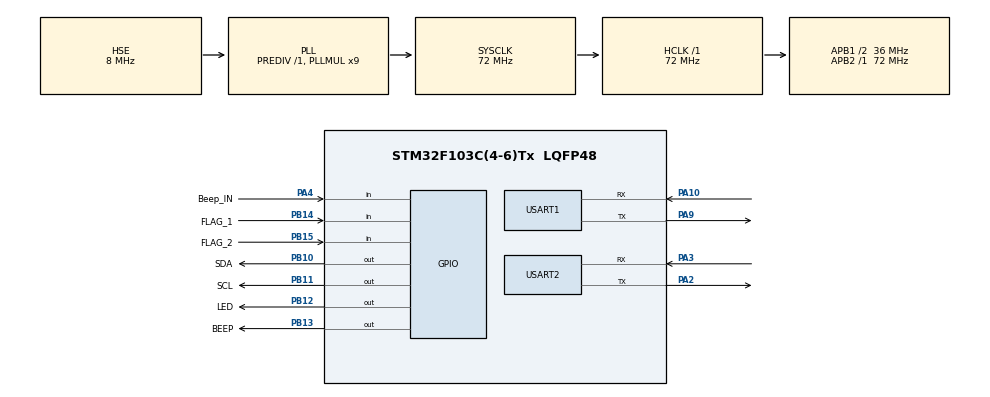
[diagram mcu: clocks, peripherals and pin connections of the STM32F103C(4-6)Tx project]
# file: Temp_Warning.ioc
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Mcu.Family=STM32F1
Mcu.Name=STM32F103C(4-6)Tx
Mcu.Package=LQFP48
NVIC.PriorityGroup=NVIC_PRIORITYGROUP_2
NVIC.USART1_IRQn=true\:1\:1\:true\:false\:true\:true\:true
PA10.Mode=Asynchronous
PA10.Signal=USART1_RX
PA13.Mode=Serial_Wire
PA13.Signal=SYS_JTMS-SWDIO
PA14.Mode=Serial_Wire
PA14.Signal=SYS_JTCK-SWCLK
PA2.Mode=Asynchronous
PA2.Signal=USART2_TX
PA3.Mode=Asynchronous
PA3.Signal=USART2_RX
PA4.GPIO_Label=Beep_IN
PA4.GPIO_Mode=GPIO_MODE_INPUT
PA4.GPIO_PuPd=GPIO_PULLUP
PA4.Signal=GPIO_Input
PA9.Mode=Asynchronous
PA9.Signal=USART1_TX
PB10.GPIO_Label=SDA
PB10.GPIO_ModeDefaultOutputPP=GPIO_MODE_OUTPUT_PP
PB10.GPIO_PuPd=GPIO_PULLUP
PB10.GPIO_Speed=GPIO_SPEED_FREQ_HIGH
PB10.PinState=GPIO_PIN_SET
PB10.Signal=GPIO_Output
PB11.GPIO_Label=SCL
PB11.GPIO_ModeDefaultOutputPP=GPIO_MODE_OUTPUT_PP
PB11.GPIO_PuPd=GPIO_PULLUP
PB11.GPIO_Speed=GPIO_SPEED_FREQ_HIGH
PB11.PinState=GPIO_PIN_SET
PB11.Signal=GPIO_Output
PB12.GPIO_Label=LED
PB12.GPIO_ModeDefaultOutputPP=GPIO_MODE_OUTPUT_PP
PB12.GPIO_PuPd=GPIO_PULLDOWN
PB12.GPIO_Speed=GPIO_SPEED_FREQ_MEDIUM
PB12.PinState=GPIO_PIN_SET
PB12.Signal=GPIO_Output
PB13.GPIO_Label=BEEP
PB13.GPIO_ModeDefaultOutputPP=GPIO_MODE_OUTPUT_PP
PB13.GPIO_PuPd=GPIO_PULLUP
PB13.GPIO_Speed=GPIO_SPEED_FREQ_MEDIUM
PB13.PinState=GPIO_PIN_SET
PB13.Signal=GPIO_Output
PB14.GPIO_Label=FLAG_1
PB14.GPIO_PuPd=GPIO_PULLUP
PB14.Signal=GPIO_Input
PB15.GPIO_Label=FLAG_2
PB15.GPIO_PuPd=GPIO_PULLUP
PB15.Signal=GPIO_Input
PC14-OSC32_IN.Mode=LSE-External-Oscillator
PC14-OSC32_IN.Signal=RCC_OSC32_IN
PC15-OSC32_OUT.Mode=LSE-External-Oscillator
PC15-OSC32_OUT.Signal=RCC_OSC32_OUT
PD0-OSC_IN.Mode=HSE-External-Oscillator
PD0-OSC_IN.Signal=RCC_OSC_IN
PD1-OSC_OUT.Mode=HSE-External-Oscillator
PD1-OSC_OUT.Signal=RCC_OSC_OUT
ProjectManager.HeapSize=0x200
ProjectManager.StackSize=0x400
ProjectManager.TargetToolchain=MDK-ARM V5.32
RCC.AHBFreq_Value=72000000
RCC.APB1CLKDivider=RCC_HCLK_DIV2
RCC.APB1Freq_Value=36000000
RCC.APB1TimFreq_Value=72000000
RCC.APB2Freq_Value=72000000
RCC.APB2TimFreq_Value=72000000
RCC.HCLKFreq_Value=72000000
RCC.PLLMUL=RCC_PLL_MUL9
RCC.PLLSourceVirtual=RCC_PLLSOURCE_HSE
RCC.SYSCLKFreq_VALUE=72000000
RCC.SYSCLKSource=RCC_SYSCLKSOURCE_PLLCLK
RCC.USBFreq_Value=72000000
TIM2.Prescaler=71
USART1.VirtualMode=VM_ASYNC
USART2.VirtualMode=VM_ASYNC
VP_TIM2_VS_ClockSourceINT.Mode=Internal
board=custom

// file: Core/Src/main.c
/* USER CODE BEGIN Header */
/**
  ******************************************************************************
  * @file           : main.c
  * @brief          : Main program body
  ******************************************************************************
  * @attention
  *
  * <h2><center>&copy; Copyright (c) 2022 STMicroelectronics.
  * All rights reserved.</center></h2>
  *
  * This software component is licensed by ST under BSD 3-Clause license,
  * the "License"; You may not use this file except in compliance with the
  * License. You may obtain a copy of the License at:
  *                        opensource.org/licenses/BSD-3-Clause
  *
  ******************************************************************************
  */
/* USER CODE END Header */
#include "main.h"
#include "tim.h"
#include "usart.h"
#include "gpio.h"

/* USER CODE BEGIN Includes */
#include "myiic.h"
#include "stdio.h"
/* USER CODE END Includes */

/* USER CODE BEGIN PD */
#define ERROR_TEMP 37.30
/* USER CODE END PD */

void SystemClock_Config(void);

/* USER CODE BEGIN 0 */

#ifdef __GNUC__
#define PUTCHAR_PROTOTYPE int __io_putchar(int ch)
#else
#define PUTCHAR_PROTOTYPE int fputc(int ch, FILE *f)
#endif
PUTCHAR_PROTOTYPE
{
    // HAL库函数版本
    // HAL_UART_Transmit(&huart1, (uint8_t *)&ch, 1 , 0xffff);
    // return ch;

    // 寄存器版本
    while ((USART1->SR & 0X40) == 0);
    USART1->DR = (uint8_t) ch;
    return ch;
}

/* USER CODE END 0 */

int main(void)
{
  /* USER CODE BEGIN 1 */
	float temp;
  /* USER CODE END 1 */

  /* MCU Configuration--------------------------------------------------------*/

  /* Reset of all peripherals, Initializes the Flash interface and the Systick. */
  HAL_Init();

  /* Configure the system clock */
  SystemClock_Config();

  /* Initialize all configured peripherals */
  MX_GPIO_Init();
  MX_USART1_UART_Init();
  MX_USART2_UART_Init();
  MX_TIM2_Init();

  /* Infinite loop */
  while (1)
  {

    /* USER CODE BEGIN 3 */
		HAL_Delay(500);
		temp=Get_Tem_DATA(0x07);
		printf("%.2f\r\n",temp);

		if( (temp>ERROR_TEMP) | (!HAL_GPIO_ReadPin(Beep_IN_GPIO_Port,Beep_IN_Pin)))
		{
			HAL_GPIO_WritePin(BEEP_GPIO_Port,BEEP_Pin,GPIO_PIN_RESET);
		}
		else
		{
			HAL_GPIO_WritePin(BEEP_GPIO_Port,BEEP_Pin,GPIO_PIN_SET);
		}

		HAL_GPIO_TogglePin(LED_GPIO_Port,LED_Pin);
  }
  /* USER CODE END 3 */
}

void SystemClock_Config(void)
{
  RCC_OscInitTypeDef RCC_OscInitStruct = {0};
  RCC_ClkInitTypeDef RCC_ClkInitStruct = {0};

  /** Initializes the RCC Oscillators according to the specified parameters
  * in the RCC_OscInitTypeDef structure.
  */
  RCC_OscInitStruct.OscillatorType = RCC_OSCILLATORTYPE_HSE;
  RCC_OscInitStruct.HSEState = RCC_HSE_ON;
  RCC_OscInitStruct.HSEPredivValue = RCC_HSE_PREDIV_DIV1;
  RCC_OscInitStruct.HSIState = RCC_HSI_ON;
  RCC_OscInitStruct.PLL.PLLState = RCC_PLL_ON;
  RCC_OscInitStruct.PLL.PLLSource = RCC_PLLSOURCE_HSE;
  RCC_OscInitStruct.PLL.PLLMUL = RCC_PLL_MUL9;
  if (HAL_RCC_OscConfig(&RCC_OscInitStruct) != HAL_OK)
  {
    Error_Handler();
  }
  /** Initializes the CPU, AHB and APB buses clocks
  */
  RCC_ClkInitStruct.ClockType = RCC_CLOCKTYPE_HCLK|RCC_CLOCKTYPE_SYSCLK
                              |RCC_CLOCKTYPE_PCLK1|RCC_CLOCKTYPE_PCLK2;
  RCC_ClkInitStruct.SYSCLKSource = RCC_SYSCLKSOURCE_PLLCLK;
  RCC_ClkInitStruct.AHBCLKDivider = RCC_SYSCLK_DIV1;
  RCC_ClkInitStruct.APB1CLKDivider = RCC_HCLK_DIV2;
  RCC_ClkInitStruct.APB2CLKDivider = RCC_HCLK_DIV1;

  if (HAL_RCC_ClockConfig(&RCC_ClkInitStruct, FLASH_LATENCY_2) != HAL_OK)
  {
    Error_Handler();
  }
}

void Error_Handler(void)
{
  __disable_irq();
  while (1)
  {
  }
}

/************************ (C) COPYRIGHT STMicroelectronics *****END OF FILE****/
